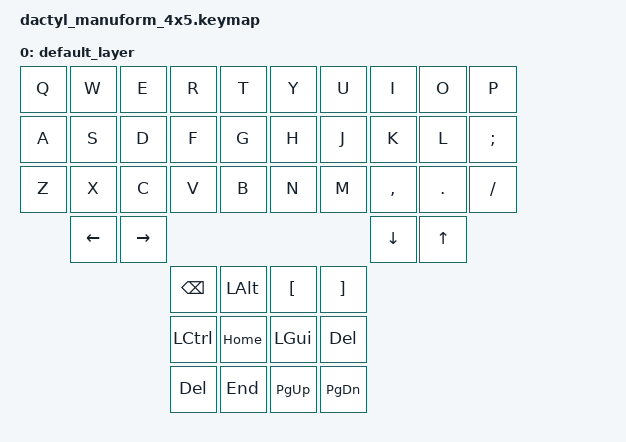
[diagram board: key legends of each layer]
/*
 * Copyright (c) 2021 The ZMK Contributors
 *
 * SPDX-License-Identifier: MIT
 */

#include <behaviors.dtsi>
#include <dt-bindings/zmk/keys.h>
#include <dt-bindings/zmk/bt.h>
#include <dt-bindings/zmk/outputs.h>


/ {
    keymap {
        compatible = "zmk,keymap";

        default_layer {
            // ------------------------------------------------------------------------------------------
            // |  ESC  |  1   |  2   |  3   |  4   |  5   |   6   |  7    |  8   |  9   |   0   | BSPC  |
            // |  TAB  |  Q   |  W   |  E   |  R   |  T   |   Y   |  U    |  I   |  O   |   P   |  \    |
            // | SHIFT |  A   |  S   |  D   |  F   |  G   |   H   |  J    |  K   |  L   |   ;   |  '    |
            // | CTRL  |  Z   |  X   |  C   |  V   |  B   |   N   |  M    |  ,   |  .   |   /   | ENTER |
            // |ADJUST | LCTL | LALT | LGUI | LOWR | SPACE| SPACE |  RAIS | LARW | DARW | UARW  | RARW  |


            bindings = <
    &kp Q     &kp W    &kp E     &kp R     &kp T           &kp Y     &kp U     &kp I     &kp O     &kp P
    &kp A     &kp S    &kp D     &kp F     &kp G           &kp H     &kp J     &kp K     &kp L     &kp SEMI
    &kp Z     &kp X    &kp C     &kp V     &kp B           &kp N     &kp M     &kp COMMA &kp DOT   &kp FSLH
              &kp LEFT &kp RIGHT                                               &kp DOWN  &kp UP
                                 &kp BSPC  &kp LALT        &kp LBKT  &kp RBKT
                                 &kp LCTRL &kp HOME        &kp LGUI  &kp DEL
                                 &kp DEL   &kp END         &kp PG_UP &kp PG_DN

            >;
        };
    };
};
